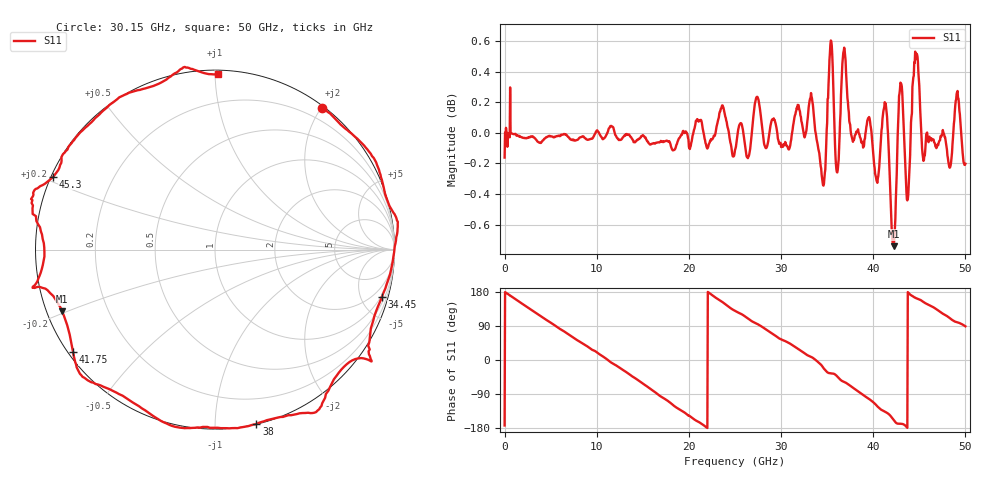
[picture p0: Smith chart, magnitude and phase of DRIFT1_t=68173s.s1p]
!Created with skrf (http://scikit-rf.org).
# Hz S RI R 50.0
!freq ReS11 ImS11
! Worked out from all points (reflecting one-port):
!   1001 points, 300 kHz to 50 GHz, reference 50 ohm
!   lowest |S11| = -0.7 dB at 42.2 GHz (marker M1), VSWR 23.49, Z = 2.21 - j9.72 ohm
!   phase of S11 starts at -173 deg and turns -818 deg over the sweep
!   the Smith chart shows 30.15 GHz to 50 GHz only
!   S11 on the Smith chart (normalised r, x): 30.15 GHz: 0.02, +2.01; 34.45 GHz: 0.88, -7.04; 38 GHz: 0.00, -1.27; 41.75 GHz: 0.01, -0.32; 45.3 GHz: 0.01, +0.22; 50 GHz: 0.02, +1.02
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300000  -0.9739 -0.1227
1.450291e9  -0.9125 0.4039
3.25028e9  -0.593 0.8003
6.250262e9  0.1989 0.9786
9.500243e9  0.8878 0.4505
1.250022e10  0.9306 -0.3512
1.580021e10  0.2421 -0.9612
1.74002e10  -0.223 -0.9683
1.875019e10  -0.5984 -0.7925
2.160017e10  -0.9902 -0.1363
2.345016e10  -0.9306 0.4129
2.500015e10  -0.6279 0.7618
2.745014e10  -0.0837 1.024
3.015012e10  0.5987 0.7893
3.125011e10  0.7821 0.6269
3.32001e10  1.014 0.1627
3.445009e10  0.9292 -0.2652
3.520009e10  0.8623 -0.5914
3.750008e10  0.3784 -0.9322
3.800007e10  0.2306 -0.9711
3.965006e10  -0.2544 -0.9763
4.175005e10  -0.7909 -0.5698
4.220005e10  -0.8512 -0.3446
4.290004e10  -1.012 -0.2087
4.375004e10  -0.9513 0.0124
4.530003e10  -0.901 0.4062
4.765001e10  -0.5126 0.858
5e10  0.0195 0.9768
